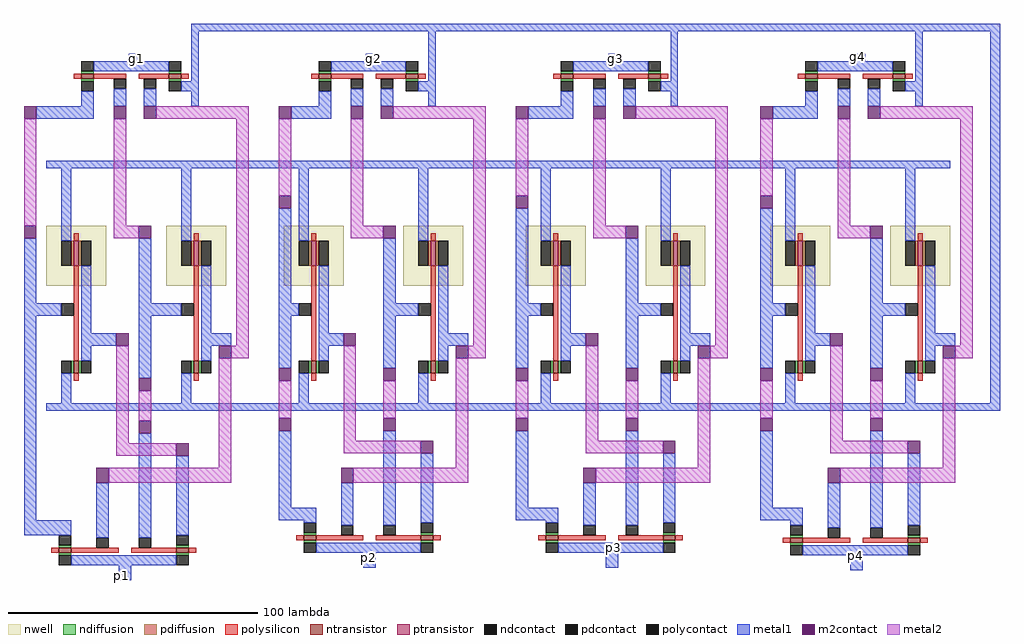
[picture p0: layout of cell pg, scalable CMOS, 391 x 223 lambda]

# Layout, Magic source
magic
tech scmos
<< nwell >>
rect 95 50 119 74
rect 143 50 167 74
rect 192 50 216 74
rect 240 50 264 74
rect 290 50 314 74
rect 338 50 362 74
<< ntransistor >>
rect 106 15 108 20
rect 154 15 156 20
rect 203 15 205 20
rect 251 15 253 20
rect 301 15 303 20
rect 349 15 351 20
<< ptransistor >>
rect 106 58 108 68
rect 154 58 156 68
rect 203 58 205 68
rect 251 58 253 68
rect 301 58 303 68
rect 349 58 351 68
<< ndiffusion >>
rect 105 15 106 20
rect 108 15 109 20
rect 153 15 154 20
rect 156 15 157 20
rect 202 15 203 20
rect 205 15 206 20
rect 250 15 251 20
rect 253 15 254 20
rect 300 15 301 20
rect 303 15 304 20
rect 348 15 349 20
rect 351 15 352 20
<< pdiffusion >>
rect 105 58 106 68
rect 108 58 109 68
rect 153 58 154 68
rect 156 58 157 68
rect 202 58 203 68
rect 205 58 206 68
rect 250 58 251 68
rect 253 58 254 68
rect 300 58 301 68
rect 303 58 304 68
rect 348 58 349 68
rect 351 58 352 68
<< ndcontact >>
rect 101 15 105 20
rect 109 15 113 20
rect 149 15 153 20
rect 157 15 161 20
rect 198 15 202 20
rect 206 15 210 20
rect 246 15 250 20
rect 254 15 258 20
rect 296 15 300 20
rect 304 15 308 20
rect 344 15 348 20
rect 352 15 356 20
<< pdcontact >>
rect 101 58 105 68
rect 109 58 113 68
rect 149 58 153 68
rect 157 58 161 68
rect 198 58 202 68
rect 206 58 210 68
rect 246 58 250 68
rect 254 58 258 68
rect 296 58 300 68
rect 304 58 308 68
rect 344 58 348 68
rect 352 58 356 68
<< polysilicon >>
rect 106 68 108 71
rect 154 68 156 71
rect 203 68 205 71
rect 251 68 253 71
rect 301 68 303 71
rect 349 68 351 71
rect 106 20 108 58
rect 154 20 156 58
rect 203 20 205 58
rect 251 20 253 58
rect 301 20 303 58
rect 349 20 351 58
rect 106 12 108 15
rect 154 12 156 15
rect 203 12 205 15
rect 251 12 253 15
rect 301 12 303 15
rect 349 12 351 15
<< polycontact >>
rect 101 38 106 43
rect 149 38 154 43
rect 198 38 203 43
rect 246 38 251 43
rect 296 38 301 43
rect 344 38 349 43
<< metal1 >>
rect 58 152 382 155
rect 58 146 61 152
rect 153 146 156 152
rect 250 146 253 152
rect 348 146 351 152
rect -4 117 19 122
rect 98 117 114 122
rect 193 117 211 122
rect 291 117 309 122
rect 24 97 362 100
rect -9 43 -4 69
rect 37 43 42 69
rect 93 43 98 81
rect 101 68 105 97
rect -9 38 0 43
rect 37 38 48 43
rect 93 38 101 43
rect -9 -44 -4 38
rect 24 26 28 31
rect 37 13 42 38
rect 72 26 74 31
rect 93 17 98 38
rect 109 31 113 58
rect 135 43 140 69
rect 149 68 153 97
rect 135 38 149 43
rect 109 26 119 31
rect 109 20 113 26
rect 135 17 140 38
rect 157 31 161 58
rect 188 43 193 81
rect 198 68 202 97
rect 188 38 198 43
rect 157 26 169 31
rect 157 20 161 26
rect 101 3 105 15
rect 188 17 193 38
rect 206 31 210 58
rect 232 43 237 69
rect 246 68 250 97
rect 232 38 246 43
rect 206 26 216 31
rect 206 20 210 26
rect 149 3 153 15
rect 232 17 237 38
rect 254 31 258 58
rect 286 43 291 81
rect 296 68 300 97
rect 286 38 296 43
rect 254 26 266 31
rect 254 20 258 26
rect 198 3 202 15
rect 286 17 291 38
rect 304 31 308 58
rect 330 43 335 69
rect 344 68 348 97
rect 330 38 344 43
rect 304 26 314 31
rect 304 20 308 26
rect 246 3 250 15
rect 330 17 335 38
rect 352 31 356 58
rect 352 26 364 31
rect 352 20 356 26
rect 296 3 300 15
rect 344 3 348 15
rect 378 3 382 152
rect 24 0 382 3
rect 20 -44 25 -29
rect 37 -44 42 -9
rect 52 -44 57 -18
rect 93 -39 98 -8
rect 118 -39 123 -29
rect 135 -39 140 -8
rect 150 -39 155 -17
rect 188 -39 193 -8
rect 215 -39 220 -29
rect 232 -39 237 -8
rect 247 -39 252 -17
rect 286 -39 291 -8
rect 93 -44 106 -39
rect 188 -44 204 -39
rect 286 -40 303 -39
rect 313 -40 318 -29
rect 330 -40 335 -8
rect 345 -40 350 -17
rect 286 -44 302 -40
rect -9 -50 8 -44
<< m2contact >>
rect -9 117 -4 122
rect 27 117 32 122
rect 39 117 44 122
rect 93 117 98 122
rect 122 117 127 122
rect 134 117 139 122
rect 188 117 193 122
rect 219 117 224 122
rect 231 117 236 122
rect 286 117 291 122
rect 317 117 322 122
rect 329 117 334 122
rect 93 81 98 86
rect -9 69 -4 74
rect 37 69 42 74
rect 135 69 140 74
rect 28 26 33 31
rect 69 21 74 26
rect 37 8 42 13
rect 188 81 193 86
rect 119 26 124 31
rect 93 12 98 17
rect 232 69 237 74
rect 164 21 169 26
rect 135 12 140 17
rect 286 81 291 86
rect 216 26 221 31
rect 188 12 193 17
rect 330 69 335 74
rect 261 21 266 26
rect 232 12 237 17
rect 314 26 319 31
rect 286 12 291 17
rect 359 21 364 26
rect 330 12 335 17
rect 37 -9 42 -4
rect 20 -29 25 -23
rect 93 -8 98 -3
rect 52 -18 57 -13
rect 135 -8 140 -3
rect 118 -29 123 -23
rect 188 -8 193 -3
rect 150 -17 155 -12
rect 232 -8 237 -3
rect 215 -29 220 -23
rect 286 -8 291 -3
rect 247 -17 252 -12
rect 330 -8 335 -3
rect 313 -29 318 -23
rect 345 -17 350 -12
<< metal2 >>
rect -9 74 -4 117
rect 44 117 81 122
rect 27 74 32 117
rect 27 69 37 74
rect 76 26 81 117
rect 93 86 98 117
rect 139 117 176 122
rect 122 74 127 117
rect 122 69 135 74
rect 28 -13 33 26
rect 74 21 81 26
rect 171 26 176 117
rect 188 86 193 117
rect 236 117 273 122
rect 219 74 224 117
rect 219 69 232 74
rect 37 -4 42 8
rect 28 -18 52 -13
rect 69 -23 74 21
rect 93 -3 98 12
rect 119 -12 124 26
rect 169 21 176 26
rect 268 26 273 117
rect 286 86 291 117
rect 334 117 371 122
rect 317 74 322 117
rect 317 69 330 74
rect 135 -3 140 12
rect 119 -17 150 -12
rect 164 -23 169 21
rect 188 -3 193 12
rect 216 -12 221 26
rect 266 21 273 26
rect 366 26 371 117
rect 232 -3 237 12
rect 216 -17 247 -12
rect 261 -23 266 21
rect 286 -3 291 12
rect 314 -12 319 26
rect 364 21 371 26
rect 330 -3 335 12
rect 314 -17 345 -12
rect 359 -23 364 21
rect 25 -29 74 -23
rect 123 -29 169 -23
rect 220 -29 266 -23
rect 318 -29 364 -23
use and  and_0
transform 0 -1 31 -1 0 146
box 0 -30 24 20
use and  and_1
transform 0 -1 126 -1 0 146
box 0 -30 24 20
use and  and_2
transform 0 -1 223 -1 0 146
box 0 -30 24 20
use and  and_3
transform 0 -1 321 -1 0 146
box 0 -30 24 20
use not  not_0
transform 1 0 0 0 1 47
box 0 -47 24 53
use not  not_1
transform 1 0 48 0 1 47
box 0 -47 24 53
use xor  xor_0
transform 0 -1 32 1 0 -68
box 0 -28 24 30
use xor  xor_1
transform 0 -1 130 1 0 -63
box 0 -28 24 30
use xor  xor_2
transform 0 -1 227 1 0 -63
box 0 -28 24 30
use xor  xor_3
transform 0 -1 325 1 0 -64
box 0 -28 24 30
<< labels >>
rlabel space 131 141 131 141 1 g2
rlabel space 36 141 36 141 1 g1
rlabel space 228 141 228 141 1 g3
rlabel space 325 142 325 142 1 g4
rlabel space 30 -66 30 -66 1 p1
rlabel space 129 -59 129 -59 1 p2
rlabel space 227 -55 227 -55 1 p3
rlabel space 324 -58 324 -58 1 p4
<< end >>

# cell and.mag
magic
tech scmos
<< ntransistor >>
rect 11 12 13 17
rect 11 -23 13 -18
<< ndiffusion >>
rect 10 12 11 17
rect 13 12 14 17
rect 10 -23 11 -18
rect 13 -23 14 -18
<< ndcontact >>
rect 6 12 10 17
rect 14 12 18 17
rect 6 -23 10 -18
rect 14 -23 18 -18
<< polysilicon >>
rect 11 17 13 20
rect 11 -1 13 12
rect 11 -18 13 -6
rect 11 -26 13 -23
<< polycontact >>
rect 13 -1 17 4
rect 13 -13 17 -8
<< metal1 >>
rect 18 12 24 17
rect 6 -2 10 12
rect 17 -1 24 4
rect 3 -7 10 -2
rect 6 -18 10 -7
rect 17 -13 24 -8
rect 14 -27 18 -23
rect 0 -30 24 -27
<< end >>

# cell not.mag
magic
tech scmos
<< nwell >>
rect 0 3 24 27
<< ntransistor >>
rect 11 -32 13 -27
<< ptransistor >>
rect 11 11 13 21
<< ndiffusion >>
rect 10 -32 11 -27
rect 13 -32 14 -27
<< pdiffusion >>
rect 10 11 11 21
rect 13 11 14 21
<< ndcontact >>
rect 6 -32 10 -27
rect 14 -32 18 -27
<< pdcontact >>
rect 6 11 10 21
rect 14 11 18 21
<< polysilicon >>
rect 11 21 13 24
rect 11 -27 13 11
rect 11 -35 13 -32
<< polycontact >>
rect 6 -9 11 -4
<< metal1 >>
rect 0 50 24 53
rect 6 21 10 50
rect 0 -9 6 -4
rect 14 -16 18 11
rect 14 -21 24 -16
rect 14 -27 18 -21
rect 6 -44 10 -32
rect 0 -47 24 -44
<< end >>

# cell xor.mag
magic
tech scmos
<< ntransistor >>
rect 11 22 13 27
rect 11 -25 13 -20
<< ndiffusion >>
rect 10 22 11 27
rect 13 22 14 27
rect 10 -25 11 -20
rect 13 -25 14 -20
<< ndcontact >>
rect 6 22 10 27
rect 14 22 18 27
rect 6 -25 10 -20
rect 14 -25 18 -20
<< polysilicon >>
rect 11 27 13 30
rect 11 3 13 22
rect 11 -20 13 -2
rect 11 -28 13 -25
<< polycontact >>
rect 13 7 17 12
rect 13 -10 17 -5
<< metal1 >>
rect 18 22 24 27
rect 6 3 10 22
rect 17 7 24 12
rect 0 -2 10 3
rect 6 -20 10 -2
rect 17 -10 24 -5
rect 18 -25 24 -20
<< end >>
